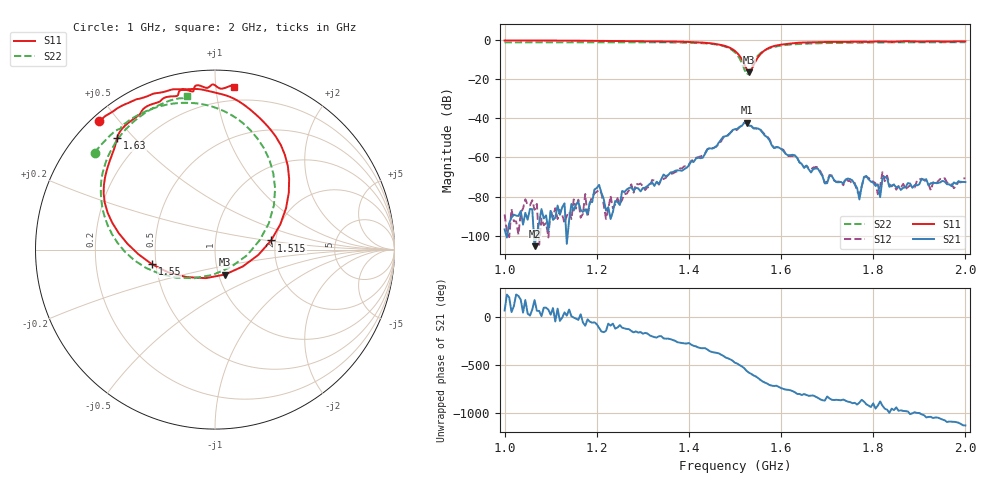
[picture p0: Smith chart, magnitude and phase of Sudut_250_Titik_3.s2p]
# Hz S RI R 50
! CMT, C1220, 16058040, 17.2.0/1
! Date: 14/08/2018 12:40:23
! Data: Format (Calibration Info)
! Freq  S11: Re/Im (F2)  S21: Re/Im (F2)  S12: Re/Im (F2)  S22: Re/Im (F2)
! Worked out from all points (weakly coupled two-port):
!   201 points, 1 GHz to 2 GHz, reference 50 ohm
!   highest |S21| = -42.26 dB at 1.525 GHz (marker M1); lowest = -105.2 dB at 1.065 GHz (marker M2)
!   lowest |S11| = -16.5 dB at 1.53 GHz (marker M3), VSWR 1.35, Z = 53.7 - j15.3 ohm
!   |S11| at or under -10 dB: 1.515 GHz to 1.547 GHz (31.97 MHz wide, 2.09 % of centre)
!   |S22| runs from -17.6 to -1.2 dB; largest |S21 - S12| = 0.00036
!   S11 on the Smith chart (normalised r, x): 1 GHz: 0.02, +0.44; 1.515 GHz: 1.89, +0.21; 1.55 GHz: 0.47, -0.09; 1.63 GHz: 0.11, +0.45; 2 GHz: 0.10, +1.12
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1e9  -0.6461 0.7143  5.91e-06 1.34e-05  -1.35e-05 3.25e-05  -0.6704 0.5405
1.065e9  -0.5786 0.7635  -5.44e-06 5.73e-07  3.93e-05 2.45e-05  -0.6341 0.5844
1.17e9  -0.4702 0.823  2.12e-05 -3.49e-05  1.02e-05 -3.56e-05  -0.5584 0.6581
1.335e9  -0.2065 0.8927  -0.000198 7.72e-05  -0.000175 0.000102  -0.3739 0.7754
1.45e9  0.1903 0.7847  0.00166 -0.000141  0.00168 -0.000244  0.0177 0.7851
1.5e9  0.4112 0.3177  -0.00232 -0.00473  -0.00217 -0.00441  0.335 0.3396
1.515e9  0.3126 0.051  -0.00579 -0.00283  -0.00574 -0.003  0.2494 0.0529
1.525e9  0.1552 -0.0938  -0.00724 0.00264  -0.00739 0.0026  0.0885 -0.0971
1.53e9  0.0558 -0.139  -0.00508 0.00397  -0.00511 0.0039  -0.0118 -0.1407
1.55e9  -0.3515 -0.0815  0.000445 0.00544  0.000233 0.00544  -0.3854 -0.1015
1.63e9  -0.5463 0.62  0.00052 -0.000992  0.000574 -0.000986  -0.6151 0.4658
1.67e9  -0.4324 0.7424  -5.31e-05 -0.000507  -1.97e-05 -0.000554  -0.5628 0.5828
1.695e9  -0.4001 0.7828  -0.000187 -0.000114  -0.000177 -0.000133  -0.5306 0.6305
1.755e9  -0.2748 0.8487  -0.000258 -1.69e-05  -0.000209 7.41e-06  -0.4524 0.7135
1.77e9  -0.233 0.854  -8.35e-05 -1.63e-05  -0.00011 -3.13e-05  -0.4345 0.7287
1.785e9  -0.2074 0.8592  -0.000335 3.78e-05  -0.000322 -2.2e-05  -0.4154 0.7428
1.81e9  -0.1884 0.8901  -0.000192 7.36e-05  -0.000105 4.57e-05  -0.3856 0.7643
1.815e9  -0.1779 0.8913  -8.97e-05 -3.75e-05  -0.000187 -1.59e-05  -0.3793 0.768
1.82e9  -0.1658 0.8904  -0.000268 0.000103  -0.000398 -0.000146  -0.3733 0.7716
1.835e9  -0.13 0.8813  1.83e-05 0.000178  -0.000154 0.000137  -0.3558 0.7822
1.925e9  -0.0132 0.9203  0.000164 0.000149  0.000111 9.41e-05  -0.2448 0.8324
2e9  0.1051 0.9057  0.000161 -0.000172  0.000208 -0.000214  -0.1561 0.8541
